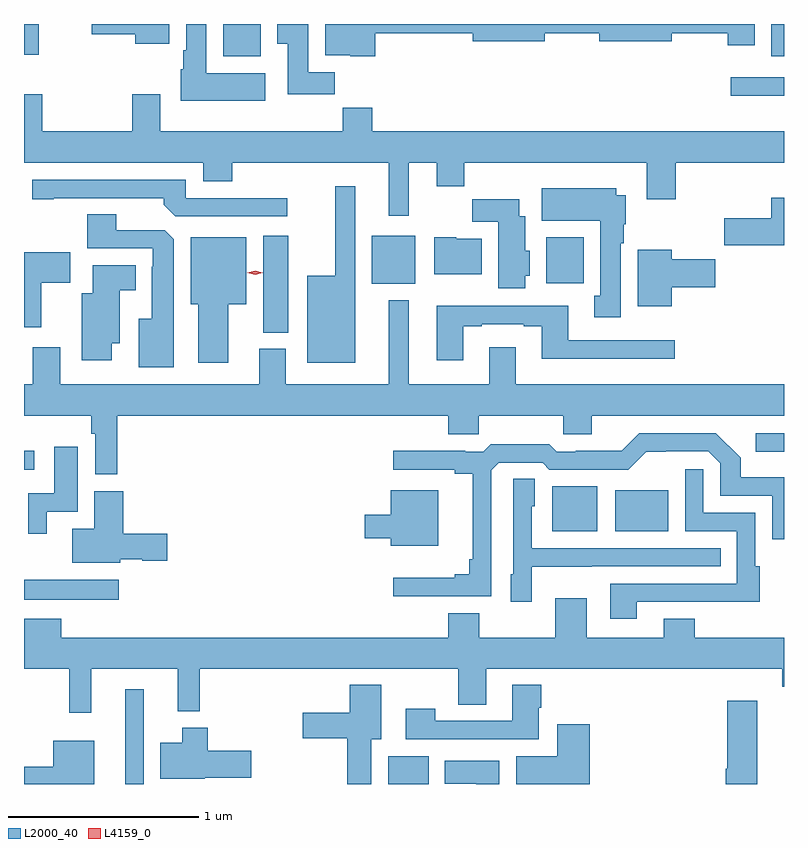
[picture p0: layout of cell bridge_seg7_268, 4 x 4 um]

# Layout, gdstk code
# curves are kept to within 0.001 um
import gdstk
lib = gdstk.Library(unit=1e-6, precision=1e-09)
def R(c, l, rs):  # rectangles x0, y0, x1, y1
    for r in rs: c.add(gdstk.rectangle(r[:2], r[2:], *l))
def P(c, l, *ps):  # polygons
    for p in ps: c.add(gdstk.Polygon(p, *l))
L2000_40 = (2000, 40)
L4159_0 = (4159, 0)

bridge_seg7_268 = lib.new_cell('bridge_seg7_268')
R(bridge_seg7_268, L2000_40, [(144.422,1047.961,144.519,1048.459), (145.808,1047.961,146.02,1048.108), (143.89,1048.931,144.388,1049.035), (146.669,1049.291,146.908,1049.527), (147.002,1049.291,147.28,1049.506), (143.89,1049.616,143.944,1049.714), (147.741,1049.711,147.89,1049.808), (145.148,1050.337,145.282,1050.847), (145.721,1050.593,145.948,1050.847), (146.639,1050.596,146.836,1050.838), (147.609,1051.584,147.89,1051.68), (144.938,1051.79,145.135,1051.961), (147.824,1051.79,147.89,1051.961), (143.89,1051.8,143.968,1051.961)])
P(bridge_seg7_268, L2000_40, [(145.526,1051.708),(145.387,1051.708),(145.387,1051.961),(145.223,1051.961),(145.223,1051.856),(145.277,1051.856),(145.277,1051.59),(145.526,1051.59)],
  [(145.159,1051.702),(144.85,1051.702),(144.85,1051.961),(144.743,1051.961),(144.743,1051.822),(144.728,1051.822),(144.728,1051.722),(144.716,1051.722),(144.716,1051.556),(145.159,1051.556)],
  [(144.655,1051.961),(144.246,1051.961),(144.246,1051.907),(144.476,1051.907),(144.476,1051.856),(144.655,1051.856)],
  [(145.738,1051.912),(146.252,1051.912),(146.252,1051.87),(146.632,1051.87),(146.632,1051.912),(146.918,1051.912),(146.918,1051.87),(147.298,1051.87),(147.298,1051.912),(147.595,1051.912),(147.595,1051.848),(147.736,1051.848),(147.736,1051.961),(145.475,1051.961),(145.475,1051.796),(145.608,1051.796),(145.608,1051.79),(145.738,1051.79)],
  [(144.607,1051.591),(144.46,1051.591),(144.46,1051.396),(143.985,1051.396),(143.985,1051.591),(143.89,1051.591),(143.89,1051.232),(144.833,1051.232),(144.833,1051.133),(144.986,1051.133),(144.986,1051.232),(145.811,1051.232),(145.811,1050.951),(145.915,1050.951),(145.915,1051.232),(146.063,1051.232),(146.063,1051.108),(146.207,1051.108),(146.207,1051.232),(147.167,1051.232),(147.167,1051.038),(147.32,1051.038),(147.32,1051.232),(147.89,1051.232),(147.89,1051.396),(145.724,1051.396),(145.724,1051.52),(145.567,1051.52),(145.567,1051.396),(144.607,1051.396)],
  [(145.276,1051.044),(144.741,1051.044),(144.741,1051.14),(143.934,1051.14),(143.934,1051.039),(144.046,1051.039),(144.046,1051.044),(144.626,1051.044),(144.626,1051.01),(144.687,1050.948),(145.276,1050.948)],
  [(145.633,1051.108),(145.529,1051.108),(145.529,1050.637),(145.382,1050.637),(145.382,1050.179),(145.633,1050.179)],
  [(147.031,1050.806),(147.046,1050.806),(147.046,1050.906),(147.058,1050.906),(147.058,1051.06),(147.007,1051.06),(147.007,1051.096),(146.615,1051.096),(146.615,1050.926),(146.924,1050.926),(146.924,1050.53),(146.891,1050.53),(146.891,1050.417),(147.031,1050.417)],
  [(147.89,1051.046),(147.824,1051.046),(147.824,1050.939),(147.576,1050.939),(147.576,1050.797),(147.89,1050.797)],
  [(146.527,1050.636),(146.551,1050.636),(146.551,1050.768),(146.527,1050.768),(146.527,1050.949),(146.497,1050.949),(146.497,1051.038),(146.248,1051.038),(146.248,1050.92),(146.387,1050.92),(146.387,1050.569),(146.527,1050.569)],
  [(144.679,1050.827),(144.63,1050.876),(144.376,1050.876),(144.376,1050.959),(144.224,1050.959),(144.224,1050.78),(144.567,1050.78),(144.567,1050.683),(144.563,1050.683),(144.563,1050.409),(144.494,1050.409),(144.494,1050.155),(144.679,1050.155)],
  [(146.299,1050.832),(146.166,1050.832),(146.166,1050.838),(146.048,1050.838),(146.048,1050.644),(146.299,1050.644)],
  [(144.964,1050.485),(145.06,1050.485),(145.06,1050.838),(144.767,1050.838),(144.767,1050.485),(144.806,1050.485),(144.806,1050.177),(144.964,1050.177)],
  [(147.298,1050.575),(147.529,1050.575),(147.529,1050.722),(147.298,1050.722),(147.298,1050.772),(147.119,1050.772),(147.119,1050.476),(147.298,1050.476)],
  [(143.98,1050.598),(144.133,1050.598),(144.133,1050.76),(143.89,1050.76),(143.89,1050.365),(143.98,1050.365)],
  [(144.352,1050.281),(144.394,1050.281),(144.394,1050.56),(144.478,1050.56),(144.478,1050.691),(144.251,1050.691),(144.251,1050.544),(144.194,1050.544),(144.194,1050.192),(144.352,1050.192)],
  [(146.123,1049.802),(146.283,1049.802),(146.283,1049.9),(146.728,1049.9),(146.728,1049.802),(146.878,1049.802),(146.878,1049.9),(147.89,1049.9),(147.89,1050.064),(146.479,1050.064),(146.479,1050.259),(146.339,1050.259),(146.339,1050.064),(145.915,1050.064),(145.915,1050.508),(145.811,1050.508),(145.811,1050.064),(145.267,1050.064),(145.267,1050.252),(145.127,1050.252),(145.127,1050.064),(144.082,1050.064),(144.082,1050.259),(143.935,1050.259),(143.935,1050.064),(143.89,1050.064),(143.89,1049.9),(144.244,1049.9),(144.244,1049.804),(144.264,1049.804),(144.264,1049.592),(144.38,1049.592),(144.38,1049.9),(146.123,1049.9)],
  [(146.203,1050.369),(146.299,1050.369),(146.299,1050.381),(146.519,1050.381),(146.519,1050.369),(146.615,1050.369),(146.615,1050.2),(147.316,1050.2),(147.316,1050.297),(146.755,1050.297),(146.755,1050.477),(146.295,1050.477),(146.295,1050.478),(146.063,1050.478),(146.063,1050.192),(146.203,1050.192)],
  [(146.349,1049.613),(146.388,1049.652),(146.619,1049.652),(146.655,1049.616),(147.069,1049.616),(147.164,1049.711),(147.492,1049.712),(147.555,1049.649),(147.555,1049.478),(147.828,1049.478),(147.828,1049.25),(147.89,1049.25),(147.89,1049.575),(147.663,1049.575),(147.663,1049.678),(147.532,1049.808),(147.129,1049.808),(147.035,1049.714),(146.794,1049.714),(146.794,1049.709),(146.694,1049.709),(146.655,1049.749),(146.347,1049.749),(146.307,1049.709),(146.213,1049.709),(146.213,1049.714),(145.833,1049.714),(145.833,1049.616),(146.156,1049.616),(146.156,1049.594),(146.252,1049.594),(146.252,1049.143),(146.233,1049.143),(146.233,1049.066),(146.156,1049.066),(146.156,1049.047),(145.833,1049.047),(145.833,1048.95),(146.349,1048.95)],
  [(144.01,1049.394),(144.172,1049.394),(144.172,1049.737),(144.05,1049.737),(144.05,1049.49),(143.912,1049.49),(143.912,1049.277),(144.01,1049.277)],
  [(147.115,1048.92),(147.545,1048.92),(147.545,1048.919),(147.763,1048.919),(147.763,1049.106),(147.738,1049.106),(147.738,1049.388),(147.465,1049.388),(147.465,1049.617),(147.369,1049.617),(147.369,1049.292),(147.642,1049.292),(147.642,1049.016),(146.975,1049.016),(146.975,1048.83),(147.115,1048.83)],
  [(146.562,1049.105),(146.879,1049.105),(146.879,1049.106),(147.557,1049.106),(147.557,1049.202),(146.562,1049.202),(146.562,1049.424),(146.578,1049.424),(146.578,1049.567),(146.466,1049.567),(146.466,1049.064),(146.453,1049.064),(146.453,1048.92),(146.562,1048.92)],
  [(146.071,1049.506),(145.82,1049.506),(145.82,1049.377),(145.683,1049.377),(145.683,1049.255),(145.82,1049.255),(145.82,1049.216),(146.071,1049.216)],
  [(144.396,1049.144),(144.513,1049.144),(144.513,1049.137),(144.643,1049.137),(144.643,1049.279),(144.413,1049.279),(144.413,1049.503),(144.26,1049.503),(144.26,1049.305),(144.143,1049.305),(144.143,1049.126),(144.396,1049.126)],
  [(147.881,1048.472),(147.89,1048.472),(147.89,1048.732),(147.421,1048.732),(147.421,1048.831),(147.257,1048.831),(147.257,1048.732),(146.851,1048.732),(146.851,1048.939),(146.687,1048.939),(146.687,1048.732),(146.287,1048.732),(146.287,1048.861),(146.123,1048.861),(146.123,1048.732),(144.085,1048.732),(144.085,1048.831),(143.89,1048.831),(143.89,1048.568),(144.127,1048.568),(144.127,1048.335),(144.245,1048.335),(144.245,1048.568),(144.698,1048.568),(144.698,1048.343),(144.815,1048.343),(144.815,1048.568),(146.176,1048.568),(146.176,1048.378),(146.323,1048.378),(146.323,1048.568),(147.881,1048.568)],
  [(146.599,1048.363),(146.612,1048.363),(146.612,1048.483),(146.459,1048.483),(146.459,1048.293),(146.055,1048.293),(146.055,1048.357),(145.899,1048.357),(145.899,1048.197),(146.599,1048.197)],
  [(145.717,1048.196),(145.771,1048.196),(145.771,1048.483),(145.604,1048.483),(145.604,1048.336),(145.356,1048.336),(145.356,1048.202),(145.592,1048.202),(145.592,1047.961),(145.717,1047.961)],
  [(147.748,1048.399),(147.59,1048.399),(147.59,1048.041),(147.584,1048.041),(147.584,1047.961),(147.748,1047.961)],
  [(146.867,1048.276),(146.696,1048.276),(146.696,1048.108),(146.48,1048.108),(146.48,1047.961),(146.867,1047.961)],
  [(144.84,1047.995),(145.087,1047.995),(145.087,1048.137),(144.857,1048.137),(144.857,1048.258),(144.722,1048.258),(144.722,1048.177),(144.608,1048.177),(144.608,1047.989),(144.84,1047.989)],
  [(144.259,1048.189),(144.044,1048.189),(144.044,1048.052),(143.89,1048.052),(143.89,1047.961),(144.259,1047.961)],
  [(146.392,1048.084),(146.105,1048.084),(146.105,1047.962),(146.27,1047.962),(146.27,1047.961),(146.392,1047.961)])
P(bridge_seg7_268, L4159_0, [(145.106,1050.642),(145.066,1050.652),(145.066,1050.652),(145.066,1050.653),(145.106,1050.662),(145.146,1050.653),(145.146,1050.652),(145.146,1050.652)])

lib.write_gds('bridge_seg7_268.gds')
